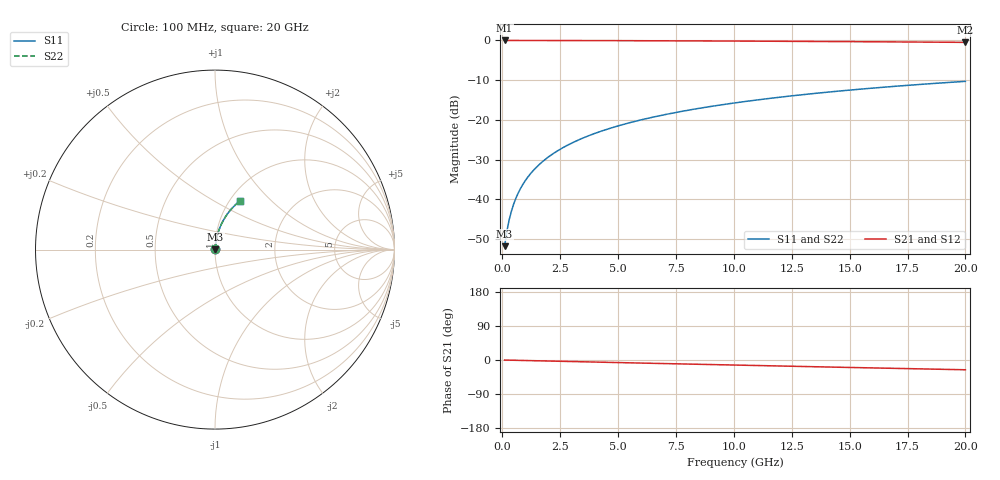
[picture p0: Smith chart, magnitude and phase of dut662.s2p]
! Touchstone file exported from HFSS 2026.1.0
!  File:  C:/ffzhzh/LocalFiles/Ansys_Project_Files/temp_train_BSMRDL_662_1783017168_46388.aedt
!  Generated:  02:34:11 AM Jul  3, 2026
!  Design:  BSMRDL
!  Project:  temp_train_BSMRDL_662_1783017168_46388
! Variables:
!  h_bsmrdl = 5.29um
!  h_ox = 20um
!  h_rdl = 5um
!  h_sub = 80um
!  h_tmrdl = 5um
!  h_tsv = 80um
!  h_via = 3um
!  l_bsmrdl = 311.05um
!  l_sub = 711.05um
!  l_tmrdl = 200um
!  m_sub = 200um
!  pitch = 46.84um
!  r_tsv = 6um
!  s_tmrdl = 10um
!  w_bsmrdl = 11.67um
!  w_sub = 500um
!  w_tmrdl = 12um
!  x_tsv_center1 = 206um
!  x_tsv_center2 = 528.72um
!  x_tsv_center3 = 740.72um
!  x_tsv_center4 = 1063.44um
!  x_tsv_center5 = 1275.44um
!  x_tsv_center6 = 1598.16um
# GHz S MA R 50.000000
! Terminal data exported
! Port[1] = BSM_RDL1_1_T1
! Port[2] = BSM_RDL1_1_T2
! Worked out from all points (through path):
!   200 points, 100 MHz to 20 GHz, reference 50 ohm
!   highest |S21| = -0.02 dB at 100 MHz (marker M1); lowest = -0.5 dB at 20 GHz (marker M2)
!   group delay of S21, straight-line fit = 3.58 ps
!   lowest |S11| = -51.8 dB at 100 MHz (marker M3), VSWR 1.01, Z = 50.2 + j0.176 ohm
!   |S11| at or under -10 dB: start of sweep to end of sweep
!   |S22| runs from -51.8 to -10.3 dB; largest |S21 - S12| = 3.1e-15
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0.1  0.002564 43.3  0.9981 -0.1  0.9981 -0.1  0.002564 43.3
! Gamma 0 0 0 0
! Port Impedance 50 0 50 0
0.2  0.003973 61.1  0.9981 -0.3  0.9981 -0.3  0.003973 61.1
0.3  0.005544 69.2  0.998 -0.4  0.998 -0.4  0.005545 69.2
0.4  0.007174 73.7  0.998 -0.6  0.998 -0.6  0.007174 73.7
0.5  0.008832 76.4  0.9979 -0.7  0.9979 -0.7  0.008833 76.4
0.6  0.01051 78.3  0.9979 -0.8  0.9979 -0.8  0.01051 78.3
0.8  0.01388 80.5  0.9978 -1.1  0.9978 -1.1  0.01388 80.5
1.1  0.01896 82.1  0.9976 -1.5  0.9976 -1.5  0.01896 82.1
1.5  0.02574 83.0  0.9974 -2.1  0.9974 -2.1  0.02574 83.0
1.8  0.03082 83.2  0.9971 -2.5  0.9971 -2.5  0.03081 83.2
2.1  0.03587 83.2  0.9969 -2.9  0.9969 -2.9  0.03587 83.2
2.7  0.04594 82.9  0.9962 -3.7  0.9962 -3.7  0.04594 82.9
3.5  0.05924 82.2  0.9952 -4.8  0.9952 -4.8  0.05923 82.2
4.2  0.07076 81.5  0.9941 -5.7  0.9941 -5.7  0.07076 81.5
5  0.08381 80.6  0.9927 -6.8  0.9927 -6.8  0.08381 80.6
5.9  0.09834 79.6  0.9909 -8.0  0.9909 -8.0  0.09834 79.6
6.8  0.1127 78.5  0.989 -9.2  0.989 -9.2  0.1127 78.5
8.3  0.1364 76.7  0.9855 -11.1  0.9855 -11.1  0.1364 76.7
10.1  0.1642 74.5  0.9807 -13.5  0.9807 -13.5  0.1642 74.5
13.4  0.2136 70.5  0.9703 -17.7  0.9703 -17.7  0.2136 70.5
16.7  0.2606 66.6  0.9582 -21.8  0.9582 -21.8  0.2606 66.6
20  0.3051 62.8  0.9446 -25.8  0.9446 -25.8  0.3051 62.7
